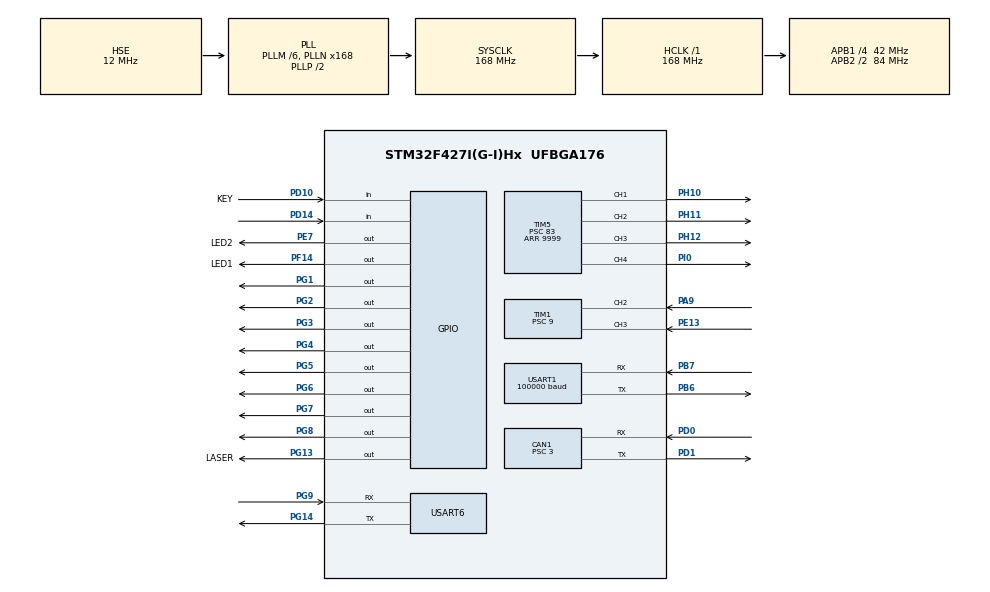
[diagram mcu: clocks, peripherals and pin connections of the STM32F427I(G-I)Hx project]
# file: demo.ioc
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CAN1.ABOM=ENABLE
CAN1.BS1=CAN_BS1_9TQ
CAN1.BS2=CAN_BS2_4TQ
CAN1.CalculateTimeBit=214
CAN1.CalculateTimeQuantum=71.42857142857143
CAN1.Prescaler=3
CAN1.SJW=CAN_SJW_1TQ
Dma.Request0=USART1_RX
Dma.Request1=TIM1_CH1/CH2/CH3
Dma.TIM1_CH1/CH2/CH3.1.Direction=DMA_PERIPH_TO_MEMORY
Dma.TIM1_CH1/CH2/CH3.1.FIFOMode=DMA_FIFOMODE_DISABLE
Dma.TIM1_CH1/CH2/CH3.1.Instance=DMA2_Stream6
Dma.TIM1_CH1/CH2/CH3.1.MemDataAlignment=DMA_MDATAALIGN_HALFWORD
Dma.TIM1_CH1/CH2/CH3.1.MemInc=DMA_MINC_ENABLE
Dma.TIM1_CH1/CH2/CH3.1.Mode=DMA_CIRCULAR
Dma.TIM1_CH1/CH2/CH3.1.PeriphDataAlignment=DMA_PDATAALIGN_HALFWORD
Dma.TIM1_CH1/CH2/CH3.1.PeriphInc=DMA_PINC_DISABLE
Dma.TIM1_CH1/CH2/CH3.1.Priority=DMA_PRIORITY_LOW
Dma.USART1_RX.0.Direction=DMA_PERIPH_TO_MEMORY
Dma.USART1_RX.0.FIFOMode=DMA_FIFOMODE_DISABLE
Dma.USART1_RX.0.Instance=DMA2_Stream2
Dma.USART1_RX.0.MemDataAlignment=DMA_MDATAALIGN_BYTE
Dma.USART1_RX.0.MemInc=DMA_MINC_ENABLE
Dma.USART1_RX.0.Mode=DMA_NORMAL
Dma.USART1_RX.0.PeriphDataAlignment=DMA_PDATAALIGN_BYTE
Dma.USART1_RX.0.PeriphInc=DMA_PINC_DISABLE
Dma.USART1_RX.0.Priority=DMA_PRIORITY_LOW
Mcu.Family=STM32F4
Mcu.Name=STM32F427I(G-I)Hx
Mcu.Package=UFBGA176
NVIC.CAN1_RX0_IRQn=true\:0\:0\:false\:false\:true\:true
NVIC.CAN1_TX_IRQn=true\:0\:0\:false\:false\:true\:true
NVIC.DMA2_Stream2_IRQn=true\:0\:0\:false\:false\:true\:true
NVIC.DMA2_Stream6_IRQn=true\:0\:0\:false\:false\:true\:false
NVIC.PriorityGroup=NVIC_PRIORITYGROUP_2
NVIC.TIM6_DAC_IRQn=true\:0\:0\:false\:false\:true\:true
NVIC.TimeBase=TIM6_DAC_IRQn
NVIC.TimeBaseIP=TIM6
NVIC.USART1_IRQn=true\:0\:0\:false\:false\:true\:true
NVIC.USART6_IRQn=true\:2\:3\:true\:false\:true\:true
PA13.Mode=Serial_Wire
PA13.Signal=SYS_JTMS-SWDIO
PA14.Mode=Serial_Wire
PA14.Signal=SYS_JTCK-SWCLK
PA9.Signal=S_TIM1_CH2
PB6.Mode=Asynchronous
PB6.Signal=USART1_TX
PB7.Mode=Asynchronous
PB7.Signal=USART1_RX
PD0.Mode=Master
PD0.Signal=CAN1_RX
PD1.Mode=Master
PD1.Signal=CAN1_TX
PD10.GPIO_Label=KEY
PD10.Signal=GPIO_Input
PD14.Signal=GPIO_Input
PE13.Signal=S_TIM1_CH3
PE7.GPIO_Label=LED2
PE7.Signal=GPIO_Output
PF14.GPIO_Label=LED1
PF14.Signal=GPIO_Output
PG1.Signal=GPIO_Output
PG13.GPIO_Label=LASER
PG13.PinState=GPIO_PIN_SET
PG13.Signal=GPIO_Output
PG14.GPIO_Speed=GPIO_SPEED_FREQ_HIGH
PG14.Mode=Asynchronous
PG14.Signal=USART6_TX
PG2.Signal=GPIO_Output
PG3.Signal=GPIO_Output
PG4.Signal=GPIO_Output
PG5.Signal=GPIO_Output
PG6.Signal=GPIO_Output
PG7.Signal=GPIO_Output
PG8.Signal=GPIO_Output
PG9.GPIO_Speed=GPIO_SPEED_FREQ_HIGH
PG9.Mode=Asynchronous
PG9.Signal=USART6_RX
PH0/OSC_IN.Mode=HSE-External-Oscillator
PH0/OSC_IN.Signal=RCC_OSC_IN
PH1/OSC_OUT.Mode=HSE-External-Oscillator
PH1/OSC_OUT.Signal=RCC_OSC_OUT
PH10.Signal=S_TIM5_CH1
PH11.Signal=S_TIM5_CH2
PH12.Signal=S_TIM5_CH3
PI0.Signal=S_TIM5_CH4
ProjectManager.HeapSize=0x200
ProjectManager.StackSize=0x400
ProjectManager.TargetToolchain=MDK-ARM V5
RCC.48MHZClocksFreq_Value=84000000
RCC.AHBFreq_Value=168000000
RCC.APB1CLKDivider=RCC_HCLK_DIV4
RCC.APB1Freq_Value=42000000
RCC.APB1TimFreq_Value=84000000
RCC.APB2CLKDivider=RCC_HCLK_DIV2
RCC.APB2Freq_Value=84000000
RCC.APB2TimFreq_Value=168000000
RCC.CortexFreq_Value=168000000
RCC.HCLKFreq_Value=168000000
RCC.HSE_VALUE=12000000
RCC.HSI_VALUE=16000000
RCC.LSE_VALUE=32768
RCC.PLLM=6
RCC.PLLN=168
RCC.PLLSourceVirtual=RCC_PLLSOURCE_HSE
RCC.SYSCLKFreq_VALUE=168000000
RCC.SYSCLKSource=RCC_SYSCLKSOURCE_PLLCLK
RCC.VCOOutputFreq_Value=336000000
SH.S_TIM1_CH2.0=TIM1_CH2,Input_Capture2_from_TI2
SH.S_TIM1_CH2.1=TIM1_CH2,Input_Capture1_from_TI2
SH.S_TIM1_CH3.0=TIM1_CH3,Input_Capture3_from_TI3
SH.S_TIM1_CH3.1=TIM1_CH3,Input_Capture4_from_TI3
SH.S_TIM5_CH1.0=TIM5_CH1,PWM Generation1 CH1
SH.S_TIM5_CH2.0=TIM5_CH2,PWM Generation2 CH2
SH.S_TIM5_CH3.0=TIM5_CH3,PWM Generation3 CH3
SH.S_TIM5_CH4.0=TIM5_CH4,PWM Generation4 CH4
TIM1.Channel-Input_Capture1_from_TI2=TIM_CHANNEL_1
TIM1.Channel-Input_Capture2_from_TI2=TIM_CHANNEL_2
TIM1.Channel-Input_Capture3_from_TI3=TIM_CHANNEL_3
TIM1.Channel-Input_Capture4_from_TI3=TIM_CHANNEL_4
TIM1.ICPolarity_CH2=TIM_INPUTCHANNELPOLARITY_BOTHEDGE
TIM1.Period=9999
TIM1.Prescaler=9
TIM5.Channel-PWM\ Generation1\ CH1=TIM_CHANNEL_1
TIM5.Channel-PWM\ Generation2\ CH2=TIM_CHANNEL_2
TIM5.Channel-PWM\ Generation3\ CH3=TIM_CHANNEL_3
TIM5.Channel-PWM\ Generation4\ CH4=TIM_CHANNEL_4
TIM5.OCMode_PWM-PWM\ Generation2\ CH2=TIM_OCMODE_PWM1
TIM5.Period=9999
TIM5.Prescaler=83
TIM5.Pulse-PWM\ Generation1\ CH1=5000
TIM5.Pulse-PWM\ Generation2\ CH2=5000
TIM5.Pulse-PWM\ Generation3\ CH3=5000
TIM5.Pulse-PWM\ Generation4\ CH4=5000
USART1.BaudRate=100000
USART1.Parity=PARITY_EVEN
USART1.VirtualMode=VM_ASYNC
USART6.VirtualMode=VM_ASYNC
VP_SYS_VS_tim6.Mode=TIM6
VP_TIM5_VS_ClockSourceINT.Mode=Internal
board=demo

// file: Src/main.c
/**
  ******************************************************************************
  * File Name          : main.c
  * Description        : Main program body
  ******************************************************************************
  ******************************************************************************
  */

#include "main.h"
#include "stm32f4xx_hal.h"
#include "can.h"
#include "dma.h"
#include "tim.h"
#include "usart.h"
#include "gpio.h"

/* USER CODE BEGIN Includes */
#include "bsp_can.h"
#include "pid.h"
#include "Remote_Control.h"
#include "robomaster_vcan.h"
/* USER CODE END Includes */

/* USER CODE BEGIN PV */
/* Private variables ---------------------------------------------------------*/
PID_TypeDef motor_pid[4];
int32_t set_spd = 0;
static int key_sta = 0;
int speed_step_sign = +1;

uint16_t TIM_COUNT[2];
#define SpeedStep 500

/* USER CODE END PV */

void SystemClock_Config(void);

/* USER CODE BEGIN PFP */
/* Private function prototypes -----------------------------------------------*/
void PWM_SetDuty(TIM_HandleTypeDef *tim,uint32_t tim_channel,float duty){

	switch(tim_channel){
		case TIM_CHANNEL_1: tim->Instance->CCR1 = (10000*duty) - 1;break;
		case TIM_CHANNEL_2: tim->Instance->CCR2 = (10000*duty) - 1;break;
		case TIM_CHANNEL_3: tim->Instance->CCR3 = (10000*duty) - 1;break;
		case TIM_CHANNEL_4: tim->Instance->CCR4 = (10000*duty) - 1;break;
	}

}
/* USER CODE END PFP */

/* USER CODE BEGIN 0 */
void Key_Scan(){

		if(HAL_GPIO_ReadPin(KEY_GPIO_Port,KEY_Pin) == GPIO_PIN_RESET){

			if(key_sta == 0){

				key_sta = 1;

				set_spd += SpeedStep*speed_step_sign;

				if(set_spd>8000)
				{
					speed_step_sign = -1;
				}

				if(set_spd<=0){

					set_spd = 0;
					speed_step_sign = 1;

				}

			}

		}else{

			key_sta = 0;

		}

}

void init_TIM5_PWM()  //摩擦轮初始化
{
	int value_a = 1000,i = 0;
	TIM5->CCR1=1000;
  TIM5->CCR2=1000;
	TIM5->CCR3=1000;
  TIM5->CCR4=1000;
//	HAL_Delay(500);
//	for(i=0;i<10;i++)
//  {
//	   TIM5->CCR1=value_a;
//     TIM5->CCR2=value_a;
//		 TIM5->CCR3=value_a;
//     TIM5->CCR4=value_a;
//
//	  value_a +=40;
//	  HAL_Delay(500);
//  }
//	TIM5->CCR1=1000;
//  TIM5->CCR2=1000;
//	TIM5->CCR3=1000;
//  TIM5->CCR4=1000;
}

/* USER CODE END 0 */

int main(void)
{

  /* MCU Configuration----------------------------------------------------------*/

  /* Reset of all peripherals, Initializes the Flash interface and the Systick. */
  HAL_Init();

  /* Configure the system clock */
  SystemClock_Config();

  /* Initialize all configured peripherals */
  MX_GPIO_Init();
  MX_DMA_Init();
  MX_CAN1_Init();
  MX_USART1_UART_Init();
  MX_TIM1_Init();
  MX_TIM5_Init();
  MX_USART6_UART_Init();

  /* USER CODE BEGIN 2 */
	/**TIM5 GPIO Configuration
	PI0     ------> TIM5_CH4
	PH12     ------> TIM5_CH3
	PH11     ------> TIM5_CH2
	PH10     ------> TIM5_CH1
	*/

	HAL_TIM_PWM_Start(&htim5,TIM_CHANNEL_1);
	HAL_TIM_PWM_Start(&htim5,TIM_CHANNEL_2);
	HAL_TIM_PWM_Start(&htim5,TIM_CHANNEL_3);
	HAL_TIM_PWM_Start(&htim5,TIM_CHANNEL_4);

  my_can_filter_init_recv_all(&hcan1);     //配置CAN过滤器
  HAL_CAN_Receive_IT(&hcan1, CAN_FIFO0);   //启动CAN接收中断
  HAL_UART_Receive_IT_IDLE(&huart1,UART_Buffer,100);   //启动串口接收

  HAL_TIM_IC_Start_DMA(&htim1,TIM_CHANNEL_2,(uint32_t *)TIM_COUNT,2);

	init_TIM5_PWM();

	/*< 初始化PID参数 >*/
//  for(int i=0; i<4; i++)
//  {

//    pid_init(&motor_pid[i]);
//    motor_pid[i].f_param_init(&motor_pid[i],PID_Speed,16384,5000,10,0,8000,0,1.5,0.008,0.025);
//
//  }
  /* USER CODE END 2 */

  /* Infinite loop */
  /* USER CODE BEGIN WHILE */
  while (1)
  {

//    if(HAL_GetTick() - Latest_Remote_Control_Pack_Time >500){   //如果500ms都没有收到遥控器数据，证明遥控器可能已经离线，切换到按键控制模式。
//      Key_Scan();
//    }else{
//      set_spd = remote_control.ch4*3000/660;
//    }

////    for(int i=0; i<4; i++)
////    {
////      motor_pid[i].target = set_spd;
////      motor_pid[i].f_cal_pid(&motor_pid[i],moto_chassis[i].speed_rpm);    //根据设定值进行PID计算。
////    }
//    set_moto_current(&hcan1, set_spd,   //将PID的计算结果通过CAN发送到电机
//                        0,
//                        0,
//                        0);
//
//    motor_pid[0].target = 4000;
//		motor_pid[0].f_cal_pid(&motor_pid[0],moto_chassis[0].speed_rpm);
//		set_moto_current(&hcan1,motor_pid[0].output,0,0,0);
		//if(remote_control.switch_right==2)
//		set_moto_current(&hcan1,-2000,0,0,0);
//		if(remote_control.switch_right==3)
//		set_moto_current(&hcan1,-3000,0,0,0);
   // HAL_Delay(10);      //PID控制频率100HZ

	 if(remote_control.switch_left!=3)
		{
				if(remote_control.switch_right==3)
				{
					set_moto_current(&hcan1,1400,0,0,0);
					PWM_SetDuty(&htim5,TIM_CHANNEL_1,0.18);
					PWM_SetDuty(&htim5,TIM_CHANNEL_2,0.18);
					PWM_SetDuty(&htim5,TIM_CHANNEL_3,0.18);
					PWM_SetDuty(&htim5,TIM_CHANNEL_4,0.18);
				}
				if(remote_control.switch_right==2)
				{
					set_moto_current(&hcan1,1600,0,0,0);

				}
				if(remote_control.switch_right==1)
				{
					set_moto_current(&hcan1,0,0,0,0);
					init_TIM5_PWM();
				}
		}else
		{
			set_moto_current(&hcan1,0,0,0,0);
			init_TIM5_PWM();
		}
	//	set_moto_current(&hcan1,1000,0,0,0);
  /* USER CODE END WHILE */

  /* USER CODE BEGIN 3 */
		wave_form_data[0] =(short)motor_pid[0].output;
	  wave_form_data[1] = (short)motor_pid[0].target;
	  wave_form_data[2] =(short)moto_chassis[0].speed_rpm;
	  wave_form_data[3] =remote_control.switch_right;
	  wave_form_data[4] =remote_control.switch_left;
	  wave_form_data[5] =remote_control.ch4;
		shanwai_send_wave_form();
  }
  /* USER CODE END 3 */

}

/** System Clock Configuration
*/
void SystemClock_Config(void)
{

  RCC_OscInitTypeDef RCC_OscInitStruct;
  RCC_ClkInitTypeDef RCC_ClkInitStruct;

    /**Configure the main internal regulator output voltage
    */
  __HAL_RCC_PWR_CLK_ENABLE();

  __HAL_PWR_VOLTAGESCALING_CONFIG(PWR_REGULATOR_VOLTAGE_SCALE1);

    /**Initializes the CPU, AHB and APB busses clocks
    */
  RCC_OscInitStruct.OscillatorType = RCC_OSCILLATORTYPE_HSE;
  RCC_OscInitStruct.HSEState = RCC_HSE_ON;
  RCC_OscInitStruct.PLL.PLLState = RCC_PLL_ON;
  RCC_OscInitStruct.PLL.PLLSource = RCC_PLLSOURCE_HSE;
  RCC_OscInitStruct.PLL.PLLM = 6;
  RCC_OscInitStruct.PLL.PLLN = 168;
  RCC_OscInitStruct.PLL.PLLP = RCC_PLLP_DIV2;
  RCC_OscInitStruct.PLL.PLLQ = 4;
  if (HAL_RCC_OscConfig(&RCC_OscInitStruct) != HAL_OK)
  {
    _Error_Handler(__FILE__, __LINE__);
  }

    /**Initializes the CPU, AHB and APB busses clocks
    */
  RCC_ClkInitStruct.ClockType = RCC_CLOCKTYPE_HCLK|RCC_CLOCKTYPE_SYSCLK
                              |RCC_CLOCKTYPE_PCLK1|RCC_CLOCKTYPE_PCLK2;
  RCC_ClkInitStruct.SYSCLKSource = RCC_SYSCLKSOURCE_PLLCLK;
  RCC_ClkInitStruct.AHBCLKDivider = RCC_SYSCLK_DIV1;
  RCC_ClkInitStruct.APB1CLKDivider = RCC_HCLK_DIV4;
  RCC_ClkInitStruct.APB2CLKDivider = RCC_HCLK_DIV2;

  if (HAL_RCC_ClockConfig(&RCC_ClkInitStruct, FLASH_LATENCY_5) != HAL_OK)
  {
    _Error_Handler(__FILE__, __LINE__);
  }

    /**Configure the Systick interrupt time
    */
  HAL_SYSTICK_Config(HAL_RCC_GetHCLKFreq()/1000);

    /**Configure the Systick
    */
  HAL_SYSTICK_CLKSourceConfig(SYSTICK_CLKSOURCE_HCLK);

  /* SysTick_IRQn interrupt configuration */
  HAL_NVIC_SetPriority(SysTick_IRQn, 0, 0);
}

void HAL_TIM_PeriodElapsedCallback(TIM_HandleTypeDef *htim)
{
  if (htim->Instance == TIM6) {
    HAL_IncTick();
  }
}

void _Error_Handler(char * file, int line)
{
  while(1)
  {
  }
}

/************************ (C) COPYRIGHT STMicroelectronics *****END OF FILE****/
